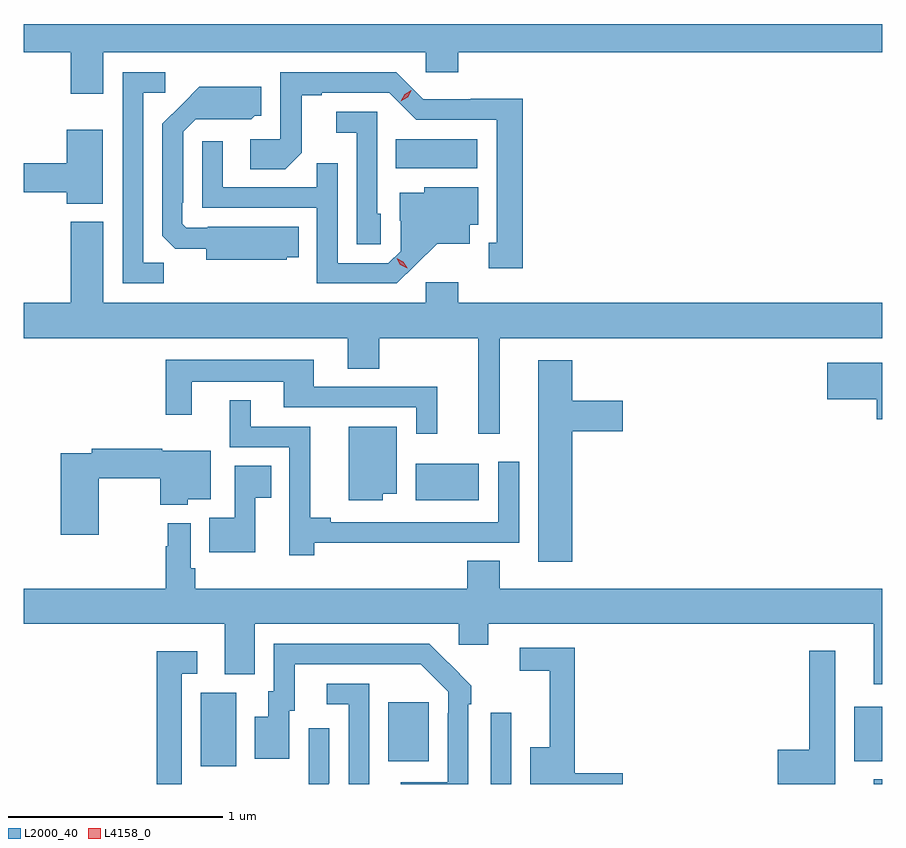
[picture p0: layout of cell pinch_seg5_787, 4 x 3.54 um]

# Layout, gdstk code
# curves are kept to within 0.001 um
import gdstk
lib = gdstk.Library(unit=1e-6, precision=1e-09)
def R(c, l, rs):  # rectangles x0, y0, x1, y1
    for r in rs: c.add(gdstk.rectangle(r[:2], r[2:], *l))
def P(c, l, *ps):  # polygons
    for p in ps: c.add(gdstk.Polygon(p, *l))
L2000_40 = (2000, 40)
L4158_0 = (4158, 0)

pinch_seg5_787 = lib.new_cell('pinch_seg5_787')
R(pinch_seg5_787, L2000_40, [(773.841,911.958,773.937,912.289), (775.625,911.958,775.665,911.98), (772.49,912.04,772.654,912.384), (773.363,912.065,773.551,912.34), (775.535,912.065,775.665,912.319), (773.492,913.28,773.785,913.45), (773.398,914.828,773.779,914.962)])
P(pinch_seg5_787, L2000_40, [(772.036,915.368),(773.538,915.368),(773.538,915.275),(773.69,915.275),(773.69,915.368),(775.665,915.368),(775.665,915.5),(771.665,915.5),(771.665,915.368),(771.884,915.368),(771.884,915.174),(772.036,915.174)],
  [(772.317,914.387),(772.221,914.387),(772.221,915.18),(772.324,915.18),(772.324,915.276),(772.125,915.276),(772.125,914.292),(772.317,914.292)],
  [(773.989,915.152),(773.748,915.152),(773.748,915.15),(773.526,915.15),(773.4,915.276),(772.86,915.276),(772.86,914.964),(772.719,914.964),(772.719,914.824),(772.883,914.824),(772.959,914.9),(772.959,915.168),(773.053,915.168),(773.053,915.18),(773.367,915.18),(773.493,915.054),(773.87,915.054),(773.87,914.481),(773.831,914.481),(773.831,914.361),(773.989,914.361)],
  [(772.89,914.414),(772.946,914.414),(772.946,914.554),(772.522,914.554),(772.522,914.55),(772.422,914.55),(772.404,914.568),(772.404,914.668),(772.407,914.668),(772.407,914.997),(772.467,915.057),(772.724,915.056),(772.74,915.072),(772.771,915.072),(772.771,915.208),(772.483,915.208),(772.311,915.034),(772.311,914.512),(772.37,914.453),(772.514,914.453),(772.514,914.402),(772.89,914.402)],
  [(773.328,914.616),(773.313,914.616),(773.313,915.09),(773.121,915.09),(773.121,914.993),(773.217,914.993),(773.217,914.473),(773.328,914.473)],
  [(772.033,915.007),(771.866,915.007),(771.866,914.852),(771.665,914.852),(771.665,914.716),(771.866,914.716),(771.866,914.663),(772.033,914.663)],
  [(773.488,914.375),(773.591,914.477),(773.743,914.477),(773.743,914.564),(773.782,914.564),(773.782,914.74),(773.532,914.74),(773.532,914.713),(773.417,914.713),(773.417,914.584),(773.421,914.584),(773.421,914.442),(773.364,914.385),(773.127,914.385),(773.127,914.852),(773.029,914.852),(773.029,914.739),(772.593,914.739),(772.593,914.953),(772.497,914.953),(772.497,914.643),(773.031,914.643),(773.031,914.292),(773.404,914.292)],
  [(773.882,914.036),(775.665,914.036),(775.665,914.2),(773.69,914.2),(773.69,914.296),(773.538,914.296),(773.538,914.2),(772.036,914.2),(772.036,914.578),(771.884,914.578),(771.884,914.2),(771.665,914.2),(771.665,914.036),(773.174,914.036),(773.174,913.894),(773.322,913.894),(773.322,914.036),(773.783,914.036),(773.783,913.59),(773.882,913.59)],
  [(773.591,913.809),(773.017,913.809),(773.017,913.936),(772.326,913.936),(772.326,913.68),(772.447,913.68),(772.447,913.832),(772.877,913.832),(772.877,913.713),(773.493,913.713),(773.493,913.59),(773.591,913.59)],
  [(774.221,913.601),(774.457,913.601),(774.457,913.743),(774.221,913.743),(774.221,913.933),(774.062,913.933),(774.062,912.993),(774.221,912.993)],
  [(775.665,913.921),(775.41,913.921),(775.41,913.751),(775.64,913.751),(775.64,913.658),(775.665,913.658)],
  [(773.018,913.082),(773.648,913.082),(773.648,913.083),(773.973,913.083),(773.973,913.459),(773.877,913.459),(773.877,913.179),(773.095,913.179),(773.095,913.199),(773,913.199),(773,913.623),(772.723,913.623),(772.723,913.747),(772.625,913.747),(772.625,913.527),(772.902,913.527),(772.902,913.023),(773.018,913.023)],
  [(773.338,913.31),(773.404,913.31),(773.404,913.624),(773.18,913.624),(773.18,913.28),(773.338,913.28)],
  [(772.014,913.384),(772.3,913.384),(772.3,913.259),(772.428,913.259),(772.428,913.286),(772.537,913.286),(772.537,913.51),(772.311,913.51),(772.311,913.52),(771.982,913.52),(771.982,913.5),(771.836,913.5),(771.836,913.119),(772.014,913.119)],
  [(772.744,913.291),(772.817,913.291),(772.817,913.442),(772.647,913.442),(772.647,913.198),(772.528,913.198),(772.528,913.037),(772.744,913.037)],
  [(775.665,912.868),(773.884,912.868),(773.884,912.998),(773.732,912.998),(773.732,912.868),(772.463,912.868),(772.463,912.964),(772.443,912.964),(772.443,913.174),(772.335,913.174),(772.335,913.067),(772.327,913.067),(772.327,912.868),(771.665,912.868),(771.665,912.704),(772.601,912.704),(772.601,912.469),(772.741,912.469),(772.741,912.704),(773.691,912.704),(773.691,912.606),(773.83,912.606),(773.83,912.704),(775.625,912.704),(775.625,912.423),(775.665,912.423)],
  [(773.736,912.329),(773.751,912.329),(773.751,912.417),(773.554,912.612),(772.83,912.612),(772.83,912.39),(772.805,912.39),(772.805,912.271),(772.742,912.271),(772.742,912.075),(772.903,912.075),(772.903,912.3),(772.927,912.3),(772.927,912.516),(773.515,912.516),(773.643,912.387),(773.643,912.287),(773.64,912.287),(773.64,911.967),(773.421,911.967),(773.421,911.958),(773.736,911.958)],
  [(774.457,912.008),(774.233,912.008),(774.233,912.594),(773.976,912.594),(773.976,912.486),(774.116,912.486),(774.116,912.13),(774.026,912.13),(774.026,911.958),(774.457,911.958)],
  [(775.447,912.58),(775.326,912.58),(775.326,912.118),(775.178,912.118),(775.178,911.958),(775.447,911.958)],
  [(772.401,912.471),(772.474,912.471),(772.474,912.577),(772.285,912.577),(772.285,911.958),(772.401,911.958)],
  [(773.275,911.969),(773.274,911.969),(773.274,912.426),(773.076,912.426),(773.076,912.33),(773.178,912.33),(773.178,911.958),(773.275,911.958)],
  [(773.087,911.962),(773.088,911.962),(773.088,912.217),(772.992,912.217),(772.992,911.958),(773.087,911.958)])
P(pinch_seg5_787, L4158_0, [(773.422,915.139),(773.422,915.139),(773.439,915.172),(773.47,915.191),(773.471,915.191),(773.471,915.19),(773.454,915.158),(773.422,915.139)],
  [(773.451,914.362),(773.42,914.378),(773.403,914.408),(773.403,914.408),(773.403,914.408),(773.434,914.392),(773.451,914.363),(773.451,914.362)])

lib.write_gds('pinch_seg5_787.gds')
